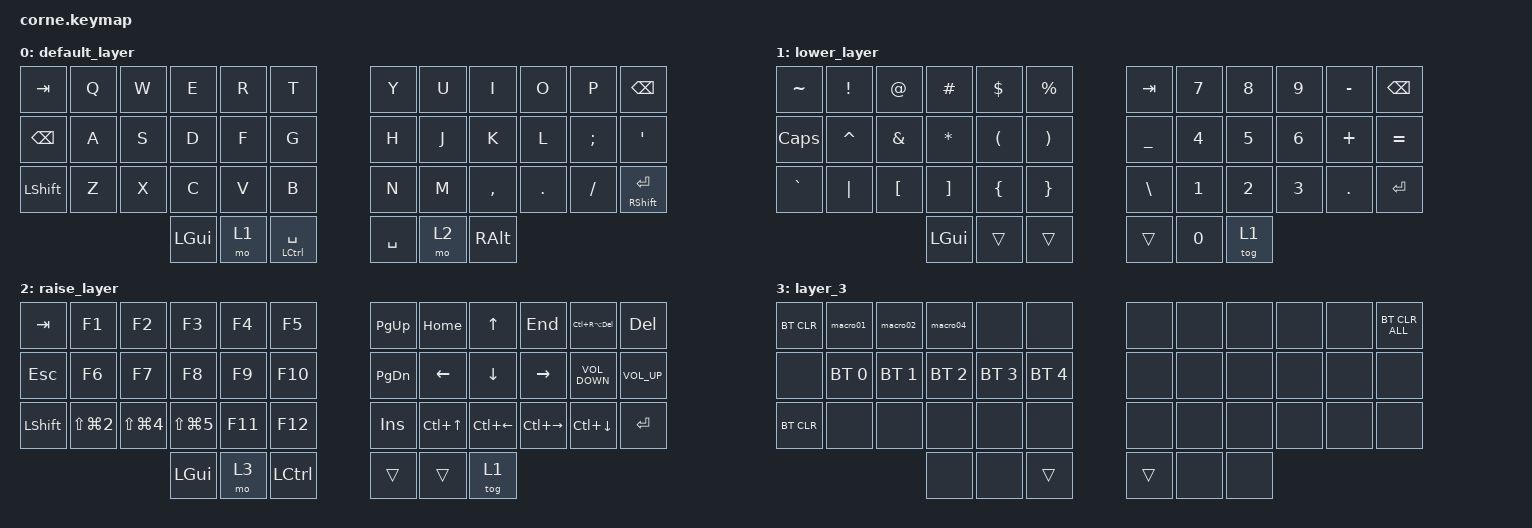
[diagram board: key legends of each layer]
/*
 * Copyright (c) 2020 The ZMK Contributors
 *
 * SPDX-License-Identifier: MIT
 */

#include <behaviors.dtsi>
#include <dt-bindings/zmk/bt.h>
#include <dt-bindings/zmk/keys.h>

/ {
    macros {
        macro01: macro01 {
            compatible = "zmk,behavior-macro";
            #binding-cells = <0>;
            bindings = <&kp LS(S) &kp O &kp N &kp A &kp M &kp O &kp O &kp N3 &kp G &kp U &kp R &kp U &kp ENTER>;
            label = "MACRO01";
        };

        macro02: macro02 {
            compatible = "zmk,behavior-macro";
            #binding-cells = <0>;
            bindings = <&kp LS(S) &kp O &kp N &kp A &kp M &kp O &kp O &kp N1 &kp G &kp U &kp R &kp U>;
            label = "MACRO02";
        };

        macro03: macro03 {
            compatible = "zmk,behavior-macro";
            #binding-cells = <0>;
            bindings = <&kp LS(G) &kp A &kp G &kp U &kp R &kp I &kp N1 &kp N8 &kp N1 &kp N2 &kp POUND>;
            label = "MACRO03";
        };

        macro04: macro3 {
            compatible = "zmk,behavior-macro";
            #binding-cells = <0>;
            bindings = <&kp LS(G) &kp A &kp R &kp U &kp R &kp I &kp N1 &kp N7 &kp N7 &kp N6 &kp EXCL &kp EXCL>;
            label = "MACRO3";
        };
    };

    keymap {
        compatible = "zmk,keymap";

        default_layer {
            // -----------------------------------------------------------------------------------------
            // |  TAB |  Q  |  W  |  E  |  R  |  T  |   |  Y  |  U   |  I  |  O  |  P  | BKSP |
            // | CTRL |  A  |  S  |  D  |  F  |  G  |   |  H  |  J   |  K  |  L  |  ;  |  '   |
            // | SHFT |  Z  |  X  |  C  |  V  |  B  |   |  N  |  M   |  ,  |  .  |  /  | ESC  |
            //                    | GUI | LWR | SPC |   | ENT | RSE  | ALT |

            bindings = <
&kp TAB        &kp Q  &kp W  &kp E         &kp R  &kp T                     &kp Y      &kp U  &kp I          &kp O    &kp P     &kp BACKSPACE
&kp BACKSPACE  &kp A  &kp S  &kp D         &kp F  &kp G                     &kp H      &kp J  &kp K          &kp L    &kp SEMI  &kp SINGLE_QUOTE
&kp LSHFT      &kp Z  &kp X  &kp C         &kp V  &kp B                     &kp N      &kp M  &kp COMMA      &kp DOT  &kp FSLH  &mt RSHFT ENTER
                             &kp LEFT_GUI  &mo 1  &mt LEFT_CONTROL SPACE    &kp SPACE  &mo 2  &kp RIGHT_ALT
            >;
        };

        lower_layer {
            // -----------------------------------------------------------------------------------------
            // |  TAB |  1  |  2  |  3  |  4  |  5  |   |  6  |  7  |  8  |  9  |  0  | BKSP |
            // | BTCLR| BT1 | BT2 | BT3 | BT4 | BT5 |   | LFT | DWN |  UP | RGT |     |      |
            // | SHFT |     |     |     |     |     |   |     |     |     |     |     |      |
            //                    | GUI |     | SPC |   | ENT |     | ALT |

            bindings = <
&kp TILDE  &kp EXCLAMATION  &kp AT_SIGN    &kp HASH           &kp DOLLAR            &kp PERCENT              &kp TAB        &kp N7        &kp N8  &kp N9  &kp MINUS   &kp BACKSPACE
&kp CAPS   &kp CARET        &kp AMPERSAND  &kp ASTERISK       &kp LEFT_PARENTHESIS  &kp RIGHT_PARENTHESIS    &kp UNDER      &kp N4        &kp N5  &kp N6  &kp PLUS    &kp EQUAL
&kp GRAVE  &kp PIPE         &kp LBKT       &kp RIGHT_BRACKET  &kp LEFT_BRACE        &kp RIGHT_BRACE          &kp BACKSLASH  &kp N1        &kp N2  &kp N3  &kp PERIOD  &kp ENTER
                                           &kp LEFT_GUI       &trans                &trans                   &trans         &kp NUMBER_0  &tog 1
            >;
        };

        raise_layer {
            // -----------------------------------------------------------------------------------------
            // |  TAB |  !  |  @  |  #  |  $  |  %  |   |  ^  |  &  |  *  |  (  |  )  | BKSP |
            // | CTRL |     |     |     |     |     |   |  -  |  =  |  [  |  ]  |  \  |  `   |
            // | SHFT |     |     |     |     |     |   |  _  |  +  |  {  |  }  | "|" |  ~   |
            //                    | GUI |     | SPC |   | ENT |     | ALT |

            bindings = <
&kp TAB         &kp F1          &kp F2                &kp F3          &kp F4   &kp F5              &kp PG_UP   &kp HOME    &kp UP        &kp END        &kp LC(RA(DEL))    &kp DELETE
&kp ESC         &kp F6          &kp F7                &kp F8          &kp F9   &kp F10             &kp PG_DN   &kp LEFT    &kp DOWN      &kp RIGHT      &kp C_VOLUME_DOWN  &kp C_VOLUME_UP
&kp LEFT_SHIFT  &kp LS(LG(N2))  &kp LS(LG(NUMBER_4))  &kp LS(LG(N5))  &kp F11  &kp F12             &kp INSERT  &kp LC(UP)  &kp LC(LEFT)  &kp LC(RIGHT)  &kp LC(DOWN)       &kp ENTER
                                                      &kp LEFT_GUI    &mo 3    &kp LEFT_CONTROL    &trans      &trans      &tog 1
            >;
        };

        layer_3 {
            bindings = <
&bt BT_CLR  &macro01      &macro02      &macro04      &none         &none           &none   &none  &none  &none  &none  &bt BT_CLR_ALL
&none       &bt BT_SEL 0  &bt BT_SEL 1  &bt BT_SEL 2  &bt BT_SEL 3  &bt BT_SEL 4    &none   &none  &none  &none  &none  &none
&bt BT_CLR  &none         &none         &none         &none         &none           &none   &none  &none  &none  &none  &none
                                        &none         &none         &trans          &trans  &none  &none
            >;
        };
    };
};
